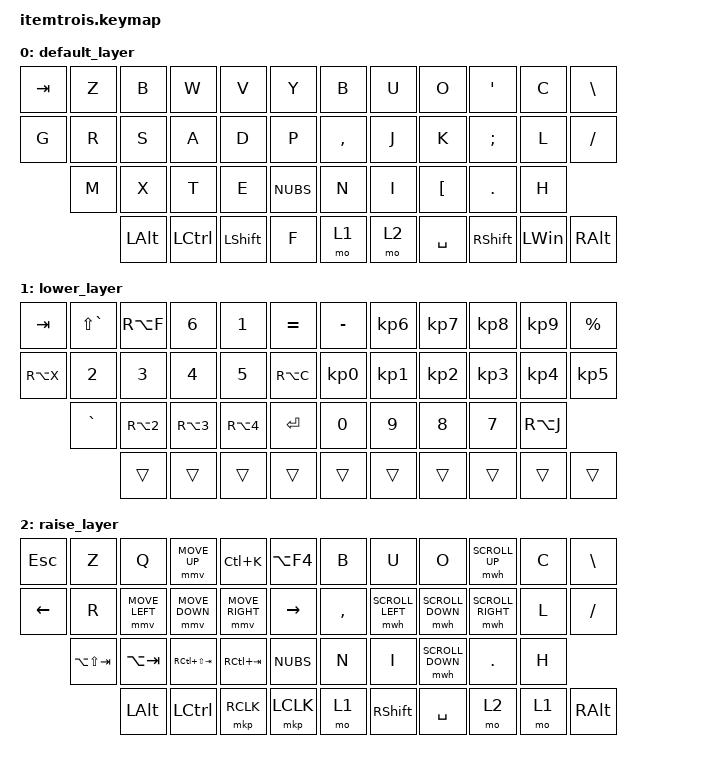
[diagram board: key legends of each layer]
#include <behaviors.dtsi>
#include <dt-bindings/zmk/keys.h>
#include <dt-bindings/zmk/bt.h>
#include "mouse.dtsi"
 #include "bepo.h"



#define default 0
#define lower   1
#define raise   2

#define COMBO(NAME, TIME, BINDINGS, KEYPOS) \
  combo_##NAME { \
    timeout-ms = <TIME>; \
    bindings = <BINDINGS>; \
    key-positions = <KEYPOS>; \
  };
//         ______________________                   ________________________
//        |0  |1  |2  |3  |4  |5  |                |6  |7  |8  |9  |10 |11 |
//        |12 |13 |14 |15 |16 |17 |                |18 |19 |20 |21 |22 |23 |
//            |24 |25 |26 |27 |28 |___          ___|29 |30 |31 |32 |33 |  
//             ‾‾‾|34 |35 |36 |37 |38 |        |39 |40 |41 |42 |43 |‾‾‾               
//                 ‾‾‾‾‾‾‾‾‾‾‾‾‾‾‾‾‾‾‾          ‾‾‾‾‾‾‾‾‾‾‾‾‾‾‾‾‾‾‾
/ {
        combos {
                compatible = "zmk,combos";

                COMBO(circonflexe, 70, &kp Y, 31 32)
                COMBO(tiret, 70, &kp N8, 30 31)
                COMBO(w, 70, &kp RBKT, 32 33)                
                COMBO(underscore, 70, &kp UNDER, 9 10)                
                COMBO(guillemet, 50, &kp N1, 7 8)           

                COMBO(fleche_haut, 50, &kp UP, 3 15)
                COMBO(fleche_bas, 50, &kp DOWN, 15 26)
                COMBO(fleche_gauche, 70, &kp LEFT, 12 13)              
                COMBO(fleche_droite, 50, &kp RIGHT, 16 17)

                COMBO(supr, 50, &kp DEL, 4 16)
                COMBO(retour, 50, &kp BSPC, 18 19)
                COMBO(retour_bis, 50, &kp BSPC, 5 17)
                COMBO(enter_un, 80, &kp ENTER, 13 14 15 16)
                COMBO(enter_two, 80, &kp ENTER, 14 15 16)
                COMBO(esc, 50, &kp ESC, 1 2)
                COMBO(caps_lock, 50, &kp CAPS, 36 41)

                COMBO(ctrl_z, 50, &kp LC(LBKT), 24 25)
                COMBO(ctrl_c, 50, &kp LC(H), 25 26)
                COMBO(ctrl_v, 50, &kp LC(U), 26 27)
                COMBO(ctrl_s, 70, &kp LC(K), 4 5) 

//                COMBO(lower, 100, &mo 1, 40 42)

        };

    keymap {
        compatible = "zmk,keymap";

        default_layer {

            bindings = <
&kp TAB	  &kp Z	     &kp B	   &kp W	     &kp V     &kp Y                  &kp B	      &kp U	     &kp O	   &kp APOS	 &kp C	&kp BSLH
&kp G	    &kp R	     &kp S	   &kp A	     &kp D	   &kp P                  &kp COMMA   &kp J	     &kp K	   &kp SEMI	 &kp L	&kp SLASH
          &kp M	     &kp X	   &kp T	     &kp E	   &kp NUBS               &kp N	      &kp I	     &kp LBKT  &kp DOT   &kp H	
                     &kp LALT  &kp LCTRL   &kp LSHFT &kp F	 &mo 1   &mo 2  &kp SPACE   &kp RSHFT  &kp LWIN	 &kp RALT
            >;      
        };

		lower_layer {
		
			bindings = <
&kp TAB	    &kp LS(GRAVE) &kp RA(F)	  &kp N6	    &kp N1 	   &kp EQUAL	  &kp MINUS  &kp KP_N6  &kp KP_N7   &kp KP_N8  &kp KP_N9	 &kp PRCNT
&kp RA(X)   &kp N2	      &kp N3	  &kp N4	    &kp N5     &kp RA(C)      &kp KP_N0  &kp KP_N1  &kp KP_N2   &kp KP_N3  &kp KP_N4	 &kp KP_N5
            &kp GRAVE     &kp RA(N2)  &kp RA(N3)    &kp RA(N4) &kp ENTER      &kp N0	  &kp N9     &kp N8	     &kp N7	    &kp RA(J)   
                          &trans      &trans        &trans     &trans  &trans     &trans  &trans     &trans     &trans      &trans
        			>;
	    	};

        raise_layer {

            bindings = <
&kp ESC	  &kp Z	          &kp Q	         &mmv MOVE_UP	     &kp LC(K)          &kp LA(F4)                     &kp B	      &kp U	     &kp O &mwh SCROLL_UP	         &kp C	             &kp BSLH
&kp LEFT	&kp R	          &mmv MOVE_LEFT &mmv MOVE_DOWN    &mmv MOVE_RIGHT  	&kp RIGHT                      &kp COMMA    &mwh SCROLL_LEFT &mwh SCROLL_DOWN	   &mwh SCROLL_RIGHT	 &kp L	&kp SLASH
          &kp LA(LS(TAB))	&kp LA(TAB)    &kp RC(LS(TAB))   &kp RC(TAB)	      &kp NUBS                       &kp N	      &kp I	           &mwh SCROLL_DOWN  &kp DOT             &kp H	
                          &kp LALT       &kp LCTRL         &mkp RCLK          &mkp LCLK	  &mo 1   &kp RSHFT  &kp SPACE   &mo 2      &mo 1	           &kp RALT
            >;      
        };

    };
};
